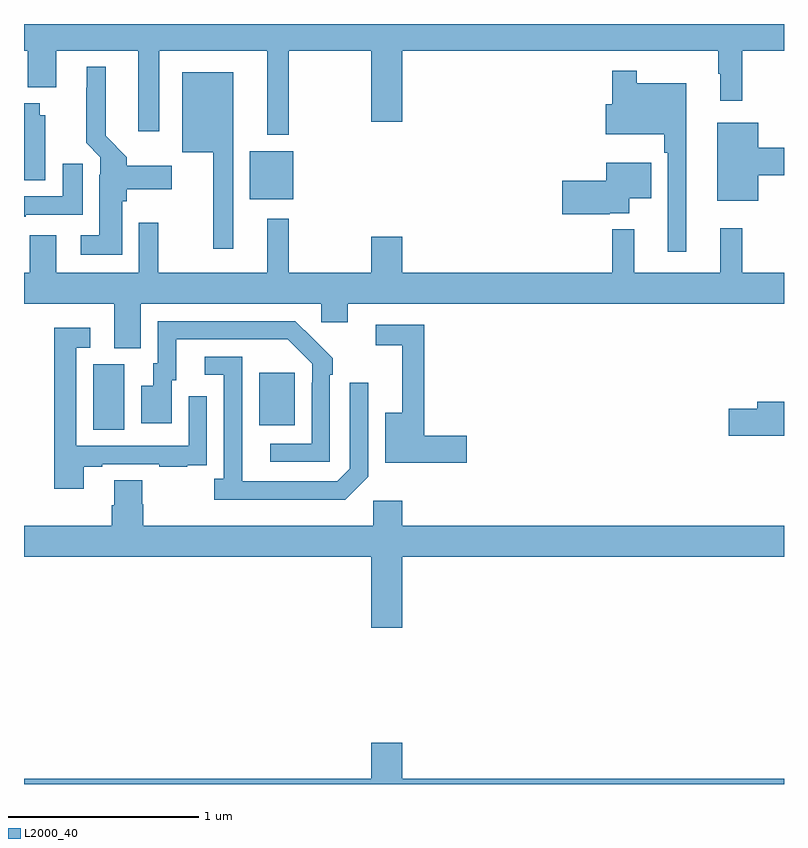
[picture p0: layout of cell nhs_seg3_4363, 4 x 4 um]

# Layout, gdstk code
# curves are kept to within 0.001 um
import gdstk
lib = gdstk.Library(unit=1e-6, precision=1e-09)
def R(c, l, rs):  # rectangles x0, y0, x1, y1
    for r in rs: c.add(gdstk.rectangle(r[:2], r[2:], *l))
def P(c, l, *ps):  # polygons
    for p in ps: c.add(gdstk.Polygon(p, *l))
L2000_40 = (2000, 40)

nhs_seg3_4363 = lib.new_cell('nhs_seg3_4363')
R(nhs_seg3_4363, L2000_40, [(343.364,688.264,343.528,688.608), (344.237,688.289,344.425,688.564), (344.189,689.477,344.416,689.731)])
P(nhs_seg3_4363, L2000_40, [(344.393,690.26),(344.828,690.26),(344.828,689.886),(344.992,689.886),(344.992,690.26),(346.653,690.26),(346.653,690.137),(346.664,690.137),(346.664,689.997),(346.781,689.997),(346.781,690.26),(347,690.26),(347,690.4),(343,690.4),(343,690.26),(343.019,690.26),(343.019,690.068),(343.171,690.068),(343.171,690.26),(343.601,690.26),(343.601,689.835),(343.711,689.835),(343.711,690.26),(344.279,690.26),(344.279,689.816),(344.393,689.816)],
  [(343.516,689.466),(343.542,689.466),(343.542,689.531),(343.777,689.531),(343.777,689.653),(343.542,689.653),(343.542,689.699),(343.429,689.812),(343.429,690.175),(343.331,690.175),(343.331,690.065),(343.327,690.065),(343.327,689.774),(343.401,689.7),(343.401,689.606),(343.397,689.606),(343.397,689.287),(343.299,689.287),(343.299,689.186),(343.516,689.186)],
  [(346.486,690.088),(346.225,690.088),(346.225,690.154),(346.096,690.154),(346.096,689.977),(346.062,689.977),(346.062,689.819),(346.369,689.819),(346.369,689.723),(346.389,689.723),(346.389,689.202),(346.486,689.202)],
  [(344.101,690.145),(343.832,690.145),(343.832,689.726),(343.997,689.726),(343.997,689.429),(343.995,689.429),(343.995,689.217),(344.101,689.217)],
  [(343.111,689.919),(343.084,689.919),(343.084,689.983),(343,689.983),(343,689.578),(343.111,689.578)],
  [(346.864,689.603),(347,689.603),(347,689.75),(346.864,689.75),(346.864,689.881),(346.649,689.881),(346.649,689.471),(346.864,689.471)],
  [(346.082,689.405),(346.186,689.405),(346.186,689.483),(346.3,689.483),(346.3,689.671),(346.064,689.671),(346.064,689.576),(345.834,689.576),(345.834,689.4),(346.082,689.4)],
  [(343.009,689.397),(343.309,689.397),(343.309,689.665),(343.205,689.665),(343.205,689.493),(343,689.493),(343,689.385),(343.009,689.385)],
  [(343.615,688.928),(344.565,688.928),(344.565,688.83),(344.704,688.83),(344.704,688.928),(347,688.928),(347,689.092),(346.781,689.092),(346.781,689.326),(346.664,689.326),(346.664,689.092),(346.211,689.092),(346.211,689.32),(346.097,689.32),(346.097,689.092),(344.992,689.092),(344.992,689.281),(344.828,689.281),(344.828,689.092),(344.393,689.092),(344.393,689.374),(344.279,689.374),(344.279,689.092),(343.706,689.092),(343.706,689.353),(343.605,689.353),(343.605,689.092),(343.171,689.092),(343.171,689.287),(343.031,689.287),(343.031,689.092),(343,689.092),(343,688.928),(343.475,688.928),(343.475,688.693),(343.615,688.693)],
  [(344.61,688.553),(344.625,688.553),(344.625,688.641),(344.428,688.836),(343.704,688.836),(343.704,688.614),(343.679,688.614),(343.679,688.495),(343.616,688.495),(343.616,688.299),(343.777,688.299),(343.777,688.524),(343.801,688.524),(343.801,688.74),(344.389,688.74),(344.517,688.611),(344.517,688.511),(344.514,688.511),(344.514,688.191),(344.295,688.191),(344.295,688.095),(344.61,688.095)],
  [(345.331,688.232),(345.107,688.232),(345.107,688.818),(344.85,688.818),(344.85,688.71),(344.99,688.71),(344.99,688.354),(344.9,688.354),(344.9,688.09),(345.331,688.09)],
  [(343.315,688.071),(343.411,688.071),(343.411,688.083),(343.711,688.083),(343.711,688.071),(343.859,688.071),(343.859,688.077),(343.961,688.077),(343.961,688.186),(343.962,688.186),(343.962,688.441),(343.866,688.441),(343.866,688.179),(343.275,688.179),(343.275,688.695),(343.348,688.695),(343.348,688.801),(343.159,688.801),(343.159,687.954),(343.315,687.954)],
  [(344.811,688.017),(344.811,688.513),(344.715,688.513),(344.715,688.059),(344.649,687.993),(344.149,687.993),(344.148,688.65),(343.95,688.65),(343.95,688.554),(344.052,688.554),(344.052,688.006),(344.001,688.006),(344.001,687.896),(344.69,687.896)],
  [(347,688.412),(346.859,688.412),(346.859,688.376),(346.71,688.376),(346.71,688.234),(347,688.234)],
  [(344.992,687.596),(347,687.596),(347,687.76),(344.99,687.76),(344.99,687.892),(344.838,687.892),(344.838,687.76),(343.628,687.76),(343.628,687.873),(343.623,687.873),(343.623,687.998),(343.475,687.998),(343.475,687.866),(343.463,687.866),(343.463,687.76),(343,687.76),(343,687.596),(344.828,687.596),(344.828,687.222),(344.992,687.222)],
  [(347,686.428),(344.992,686.428),(344.992,686.617),(344.828,686.617),(344.828,686.428),(343,686.428),(343,686.4),(347,686.4)])

lib.write_gds('nhs_seg3_4363.gds')
